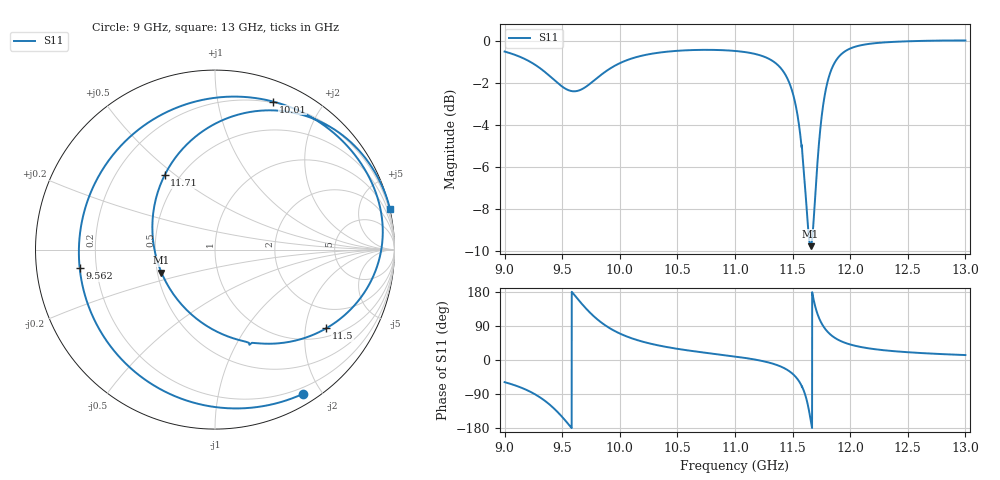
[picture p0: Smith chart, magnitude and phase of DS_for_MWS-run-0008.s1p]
! TOUCHSTONE file generated by CST DESIGN STUDIO
! Date and time: Tue Feb  4 16:19:30 2025
! Project name: C:\Work\MatlabApps\UnitCellOptimizationMatlab\CST\unitcell.cst
! Tree item: Tasks\Sweep1\SPara1\S-Parameters
! Header version: 2024
! Port assignment regex: !\s*Touchstone port\s*([0-9]+)\s*=\s*(CST MWS port|CST DES external port|CST DES block port)\s*(.+)\s* \(\"(.*)\"\)(\s*mode\s*([0-9]+))?.*
! Touchstone port assignment:
! Touchstone port 1 = CST DES external port 1 ("")
# GHz S MA R 50
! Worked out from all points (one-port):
!   4001 points, 9 GHz to 13 GHz, reference 50 ohm
!   lowest |S11| = -9.8 dB at 11.66 GHz (marker M1), VSWR 1.96, Z = 26.3 - j7.53 ohm
!   |S11| at or under -10 dB: nowhere
!   S11 on the Smith chart (normalised r, x): 9 GHz: 0.13, -1.78; 9.562 GHz: 0.14, -0.07; 10.01 GHz: 0.19, +1.45; 11.5 GHz: 1.26, -2.60; 11.71 GHz: 0.41, +0.46; 13 GHz: -0.02, +8.76
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9  0.9417 -58.5
9.157  0.909 -74.6
9.307  0.8599 -98.5
9.406  0.817 -121.6
9.5  0.7773 -150.3
9.562  0.7609 -172.3
9.653  0.7624 154.3
9.77  0.801 116.6
9.871  0.842 92.0
10  0.8836 69.9
10.009  0.8859 68.6
10.219  0.9241 46.7
10.5  0.9455 29.5
11  0.9448 9.2
11.333  0.892 -10.1
11.496  0.7589 -35.3
11.5  0.7525 -36.4
11.59  0.5188 -75.6
11.623  0.3944 -106.4
11.656  0.3246 -156.8
11.684  0.3783 157.2
11.713  0.5003 124.2
11.755  0.6693 94.9
11.803  0.7973 74.7
11.889  0.9066 54.4
12  0.9574 40.9
12.5  0.9961 20.5
13  1.001 13.0
